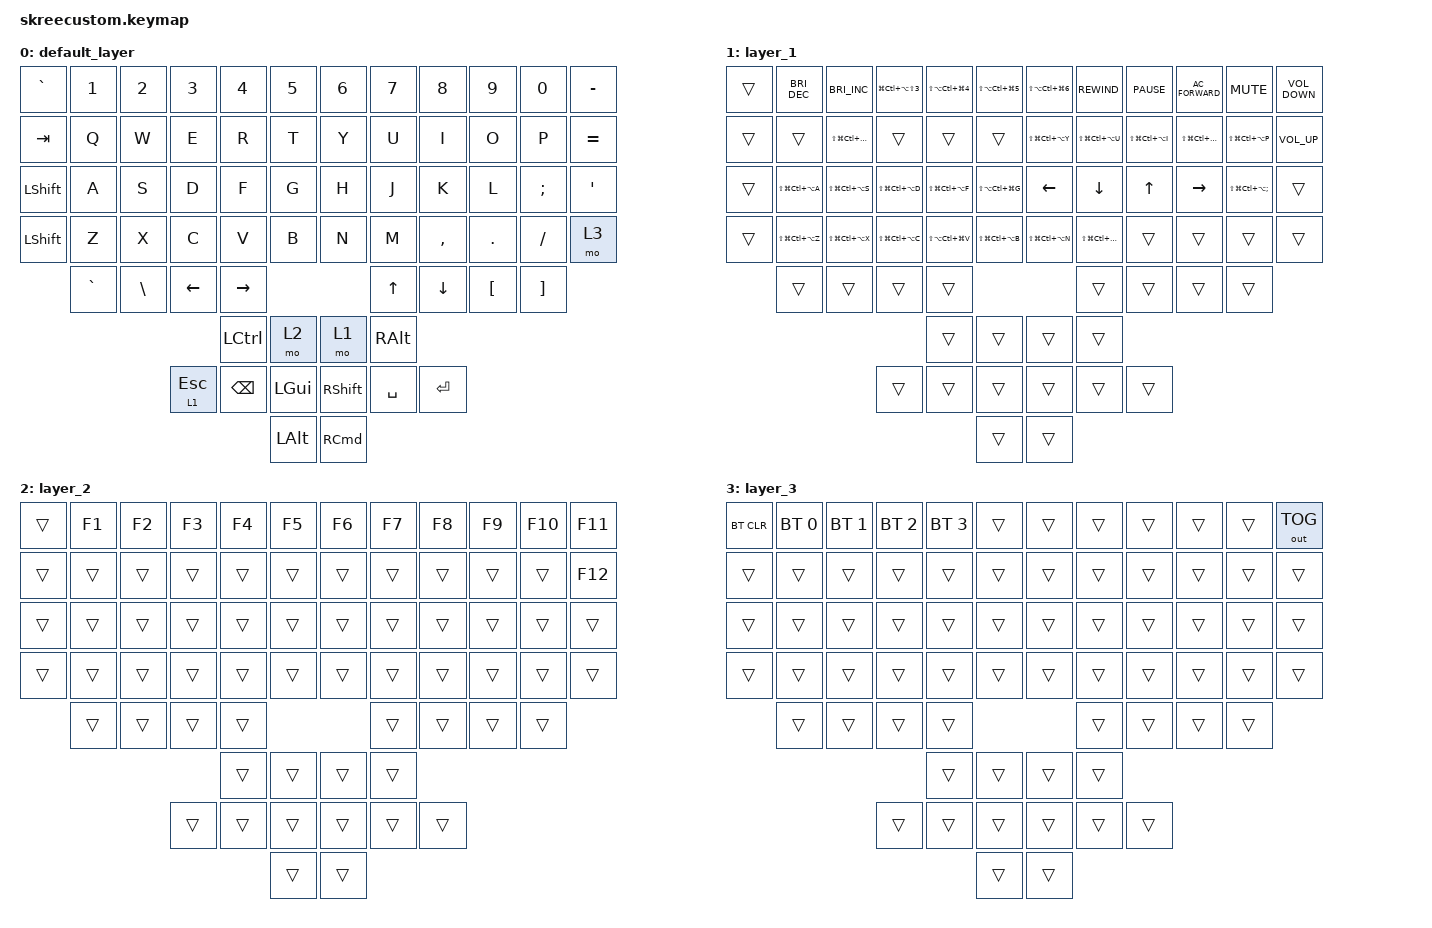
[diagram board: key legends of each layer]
/*
 * Copyright (c) 2020 The ZMK Contributors
 *
 * SPDX-License-Identifier: MIT
 */
//#include <behaviors/mouse_keys.dtsi>

#include <input/processors.dtsi>
#include <dt-bindings/zmk/input_transform.h>
#include <behaviors.dtsi>
#include <dt-bindings/zmk/bt.h>
#include <dt-bindings/zmk/keys.h>
#include <dt-bindings/zmk/outputs.h>

/ {
    combos { compatible = "zmk,combos"; };

    keymap {
        compatible = "zmk,keymap";

        default_layer {
            bindings = <
&kp GRAVE       &kp N1     &kp N2    &kp N3        &kp N4         &kp N5          &kp N6             &kp N7         &kp N8      &kp N9    &kp N0    &kp MINUS
&kp TAB         &kp Q      &kp W     &kp E         &kp R          &kp T           &kp Y              &kp U          &kp I       &kp O     &kp P     &kp EQUAL
&kp LEFT_SHIFT  &kp A      &kp S     &kp D         &kp F          &kp G           &kp H              &kp J          &kp K       &kp L     &kp SEMI  &kp SQT
&kp LEFT_SHIFT  &kp Z      &kp X     &kp C         &kp V          &kp B           &kp N              &kp M          &kp COMMA   &kp DOT   &kp FSLH  &mo 3
                &kp GRAVE  &kp BSLH  &kp LEFT      &kp RIGHT                                         &kp UP         &kp DOWN    &kp LBKT  &kp RBKT
                                                   &kp LCTRL      &mo 2           &mo 1              &kp RIGHT_ALT
                                     &lt 1 ESCAPE  &kp BACKSPACE  &kp LEFT_GUI    &kp RIGHT_SHIFT    &kp SPACE      &kp RETURN
                                                                  &kp LEFT_ALT    &kp RIGHT_COMMAND
            >;
        };

        layer_1 {
            bindings = <
&trans  &kp C_BRIGHTNESS_DEC   &kp C_BRIGHTNESS_INC   &kp LG(LC(LA(LS(N3))))  &kp LS(LA(LC(LG(N4))))  &kp LS(LA(LC(LG(N5))))    &kp LS(LA(LC(LG(N6))))  &kp C_REWIND           &kp C_PAUSE            &kp C_AC_FORWARD       &kp C_MUTE                &kp C_VOLUME_DOWN
&trans  &trans                 &kp LS(LG(LC(LA(W))))  &trans                  &trans                  &trans                    &kp LS(LG(LC(LA(Y))))   &kp LS(LG(LC(LA(U))))  &kp LS(LG(LC(LA(I))))  &kp LS(LG(LC(LA(O))))  &kp LS(LG(LC(LA(P))))     &kp C_VOLUME_UP
&trans  &kp LS(LG(LC(LA(A))))  &kp LS(LG(LC(LA(S))))  &kp LS(LG(LC(LA(D))))   &kp LS(LG(LC(LA(F))))   &kp LS(LA(LC(LG(G))))     &kp LEFT                &kp DOWN               &kp UP                 &kp RIGHT              &kp LS(LG(LC(LA(SEMI))))  &trans
&trans  &kp LS(LG(LC(LA(Z))))  &kp LS(LG(LC(LA(X))))  &kp LS(LG(LC(LA(C))))   &kp LS(LA(LC(LG(V))))   &kp LS(LG(LC(LA(B))))     &kp LS(LG(LC(LA(N))))   &kp LS(LG(LC(LA(M))))  &trans                 &trans                 &trans                    &trans
        &trans                 &trans                 &trans                  &trans                                                                    &trans                 &trans                 &trans                 &trans
                                                                              &trans                  &trans                    &trans                  &trans
                                                      &trans                  &trans                  &trans                    &trans                  &trans                 &trans
                                                                                                      &trans                    &trans
            >;
        };

        layer_2 {
            bindings = <
&trans  &kp F1  &kp F2  &kp F3  &kp F4  &kp F5    &kp F6  &kp F7  &kp F8  &kp F9  &kp F10  &kp F11
&trans  &trans  &trans  &trans  &trans  &trans    &trans  &trans  &trans  &trans  &trans   &kp F12
&trans  &trans  &trans  &trans  &trans  &trans    &trans  &trans  &trans  &trans  &trans   &trans
&trans  &trans  &trans  &trans  &trans  &trans    &trans  &trans  &trans  &trans  &trans   &trans
        &trans  &trans  &trans  &trans                    &trans  &trans  &trans  &trans
                                &trans  &trans    &trans  &trans
                        &trans  &trans  &trans    &trans  &trans  &trans
                                        &trans    &trans
            >;
        };

        layer_3 {
            bindings = <
&bt BT_CLR  &bt BT_SEL 0  &bt BT_SEL 1  &bt BT_SEL 2  &bt BT_SEL 3  &trans    &trans  &trans  &trans  &trans  &trans  &out OUT_TOG
&trans      &trans        &trans        &trans        &trans        &trans    &trans  &trans  &trans  &trans  &trans  &trans
&trans      &trans        &trans        &trans        &trans        &trans    &trans  &trans  &trans  &trans  &trans  &trans
&trans      &trans        &trans        &trans        &trans        &trans    &trans  &trans  &trans  &trans  &trans  &trans
            &trans        &trans        &trans        &trans                          &trans  &trans  &trans  &trans
                                                      &trans        &trans    &trans  &trans
                                        &trans        &trans        &trans    &trans  &trans  &trans
                                                                    &trans    &trans
            >;
        };
    };
};

// //right hand trackball overrides
// &trackball_peripheral_listener {
//     input-processors =
//         <&zip_xy_transform INPUT_TRANSFORM_XY_SWAP>,//this gets it to the default installation orientation
//         <&zip_temp_layer 3 500>;//activate layer 3 within 500ms of the trackball moving
// };
// //left hand trackball overrides
// &trackball_central_listener {
//     input-processors = 
//         <&zip_xy_transform INPUT_TRANSFORM_XY_SWAP>,//this gets it to the default installation orientation
//         <&zip_xy_scaler 1 3>,//multiply sensitivity by 1, divide by 3 (make it slower for scrolling)
//         <&zip_xy_to_scroll_mapper>,//make this trackball output scrolling events by default instead of cursor movement
//         <&zip_scroll_transform INPUT_TRANSFORM_Y_INVERT>;//invert vertical scrolling so that the view moves in the same direction as the top of the trackball.
// };
